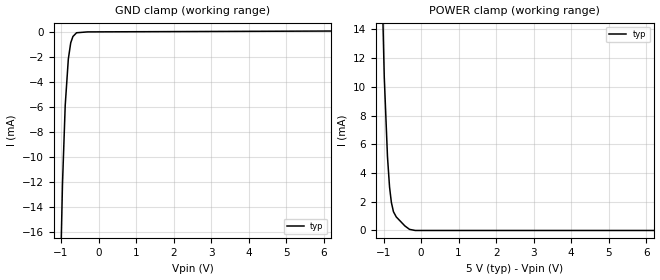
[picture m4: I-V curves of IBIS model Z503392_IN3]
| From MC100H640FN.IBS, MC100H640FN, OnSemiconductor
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| (C) COPYRIGHT 1993-2000
| MENTOR GRAPHICS CORPORATION
| ICX STANDARD LIBRARY, ICX PROJECT MODELING,
| ICX CUSTOM MODELING, ICX VENDOR MODEL
| ALL RIGHTS RESERVED.
| THE FOLLOWING ARE TRADEMARKS OR SERVICE MARKS OF
| MENTOR GRAPHICS CORPORATION:ICX (R), ICX STANDARD
| LIBRARY(R), ICX PROJECT MODELING(R), ICX CUSTOM
| MODELING(R), qualityIBIS(TM), MODELVIEWER(TM),
| AND MODELEDITOR(TM)
| ALL COPIES OF SOFTWARE, INCLUDING BUT NOT LIMITED TO
| ANY MODIFICATIONS, ENHANCEMENTS OR DERIVATIVE WORKS,
| MUST CONTAIN ALL MENTOR GRAPHICS CORPORATION'S
| NOTICES AND LEGENDS, INCLUDING THOSE EMBEDDED IN
| SOFTWARE AND THOSE AFFIXED TO SOFTWARE MEDIUM
| AND CONTAINER, AS RECEIVED FROM MENTOR GRAPHICS
| CORPORATION.
| Model Application Version 1.89 2/18/99.
[Model] Z503392_IN3
Model_type Input
Vinl = 3.525V
Vinh = 3.835V
C_comp 2.000pF NA NA
| variable typ   min   max
[Voltage Range] 5.000V NA NA
[GND Clamp Reference] 0.000V NA NA
[POWER Clamp Reference] 5.000V NA NA
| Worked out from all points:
|   GND clamp passes 1 mA (typ) near -0.75 V on its own axis
|   POWER clamp passes 1 mA (typ) near -0.67 V on its own axis
[GND Clamp]
-5V       -563.8mA   NA         NA
-961.6mV  -12.23mA   NA         NA
-888.7mV  -5.901mA   NA         NA
-805.7mV  -2.188mA   NA         NA
-741.7mV  -888.4uA   NA         NA
-683.1mV  -386.7uA   NA         NA
-586.7mV  -87.81uA   NA         NA
-293.4mV  -18.35uA   NA         NA
10V       90.15uA    NA         NA
[POWER Clamp]
-5V       455.3mA    NA         NA
-981mV    10.7mA     NA         NA
-895mV    5.142mA    NA         NA
-840mV    3.03mA     NA         NA
-791mV    1.952mA    NA         NA
-736mV    1.307mA    NA         NA
-660mV    939.4uA    NA         NA
-430mV    313.3uA    NA         NA
-309mV    79.1uA     NA         NA
-154.5mV  0A         NA         NA
10V       0A         NA         NA
